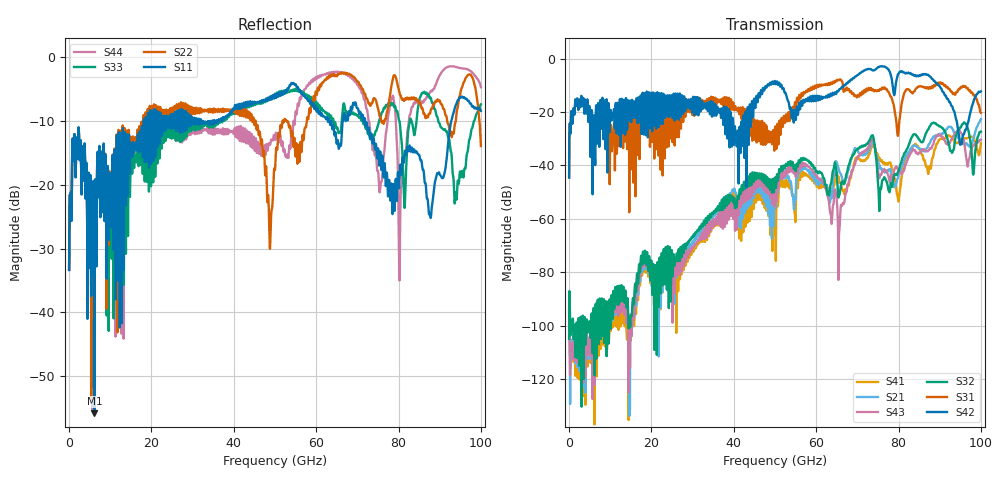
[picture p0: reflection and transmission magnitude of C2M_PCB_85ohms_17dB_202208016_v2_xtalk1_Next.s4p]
! Info: Touchstone file created by Circ.  Input file=Intel_C2M_200G_5p5in_202208016_staggered.circ
# Hz S RI R 50
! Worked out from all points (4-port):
!   10000 points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, 10 MHz to 100 GHz, reference 50 ohm
!   strongest paths, dB at 10 MHz, 25.01 GHz, 50.01 GHz, 75.01 GHz, 100 GHz:
!     S42: -44.5, -15.6, -8.6, -3.2, -12.3
!     S31: -44.6, -18.2, -26.2, -11.8, -20.3
!     S32: -104.9, -74.2, -44.5, -46.5, -27.4
!     S43: -94.4, -75.5, -47.8, -41.5, -30.4
!     S21: -94.0, -77.4, -49.4, -38.3, -22.7
!     S41: -93.3, -76.2, -54.2, -36.3, -31.7
!   lowest |S11| = -55.8 dB at 6.13 GHz (marker M1), VSWR 1.00, Z = 49.9 - j0.133 ohm
!   |S11| at or under -10 dB: start of sweep to 18.11 GHz; 63.26 GHz to 66.46 GHz (3.201 GHz wide, 4.93 % of centre); 71.9 GHz to 92.82 GHz (20.92 GHz wide, 25.4 % of centre)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
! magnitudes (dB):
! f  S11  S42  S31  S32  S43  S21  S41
! 10 MHz  -33.4  -44.5  -44.6  -104.9  -94.4  -94.0  -93.3
! 6.13 GHz  -55.8  -22.7  -25.2  -101.3  -105.0  -108.1  -112.2
! 65.63 GHz  -14.0  -11.4  -7.9  -51.0  -64.1  -42.3  -45.9
! 73.47 GHz  -12.3  -4.1  -11.7  -28.9  -30.5  -31.8  -33.2
! 76.06 GHz  -15.4  -2.8  -10.8  -45.5  -42.2  -41.8  -38.5
! 95.21 GHz  -6.3  -31.7  -10.6  -25.4  -27.9  -31.4  -30.4
! 100 GHz  -8.4  -12.3  -20.3  -27.4  -30.4  -22.7  -31.7
